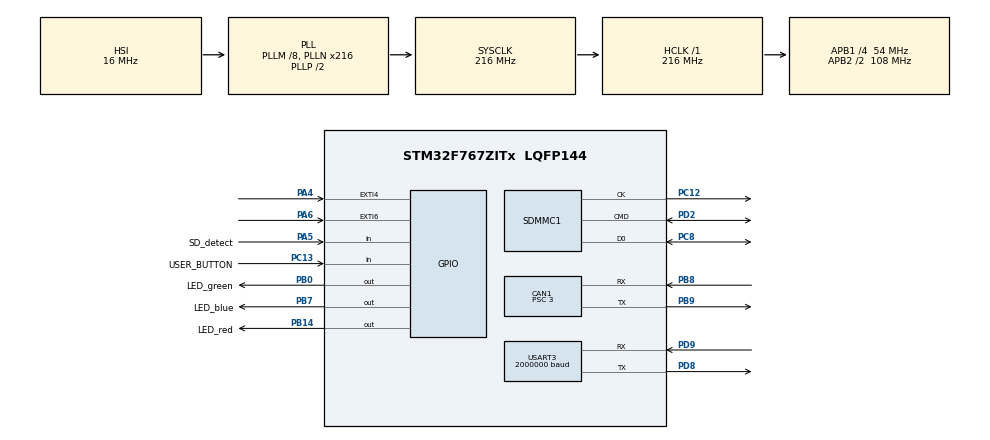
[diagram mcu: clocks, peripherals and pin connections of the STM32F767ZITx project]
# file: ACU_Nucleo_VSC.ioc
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CAN1.AWUM=ENABLE
CAN1.BS1=CAN_BS1_15TQ
CAN1.BS2=CAN_BS2_2TQ
CAN1.CalculateTimeQuantum=55.55555555555556
CAN1.NART=ENABLE
CAN1.Prescaler=3
FATFS.BSP.number=1
FATFS0.BSP.STBoard=false
FATFS0.BSP.api=Unknown
FATFS0.BSP.i2caddr=0
FATFS0.BSP.instance=PA5
FATFS0.BSP.ip=GPIO
FATFS0.BSP.mode=Input
FATFS0.BSP.name=Detect_SDIO
FATFS0.BSP.solution=PA5
Mcu.Family=STM32F7
Mcu.Name=STM32F767ZITx
Mcu.Package=LQFP144
NVIC.CAN1_RX0_IRQn=true\:0\:0\:false\:true\:true\:5\:true\:true
NVIC.CAN1_RX1_IRQn=true\:0\:0\:false\:true\:true\:4\:true\:true
NVIC.CAN1_SCE_IRQn=true\:0\:0\:false\:true\:true\:3\:true\:true
NVIC.CAN1_TX_IRQn=true\:0\:0\:false\:true\:true\:6\:true\:true
NVIC.EXTI4_IRQn=true\:0\:0\:false\:false\:true\:true\:true
NVIC.EXTI9_5_IRQn=true\:0\:0\:false\:false\:true\:true\:true
NVIC.PriorityGroup=NVIC_PRIORITYGROUP_4
NVIC.SDMMC1_IRQn=true\:0\:0\:false\:true\:true\:1\:true\:true
NVIC.TIM2_IRQn=true\:0\:0\:false\:true\:true\:7\:true\:true
NVIC.TIM4_IRQn=true\:0\:0\:false\:false\:true\:true\:true
NVIC.TIM5_IRQn=true\:0\:0\:false\:false\:true\:true\:true
NVIC.USART3_IRQn=true\:0\:0\:false\:true\:true\:2\:true\:true
PA4.Signal=GPXTI4
PA5.GPIO_Label=SD_detect
PA5.Signal=GPIO_Input
PA6.Signal=GPXTI6
PB0.GPIO_Label=LED_green
PB0.Signal=GPIO_Output
PB14.GPIO_Label=LED_red
PB14.Signal=GPIO_Output
PB7.GPIO_Label=LED_blue
PB7.Signal=GPIO_Output
PB8.Mode=Master
PB8.Signal=CAN1_RX
PB9.Mode=Master
PB9.Signal=CAN1_TX
PC12.Mode=SD_1_bit
PC12.Signal=SDMMC1_CK
PC13.GPIO_Label=USER_BUTTON
PC13.Signal=GPIO_Input
PC8.Mode=SD_1_bit
PC8.Signal=SDMMC1_D0
PD2.Mode=SD_1_bit
PD2.Signal=SDMMC1_CMD
PD8.Mode=Asynchronous
PD8.Signal=USART3_TX
PD9.Mode=Asynchronous
PD9.Signal=USART3_RX
ProjectManager.HeapSize=0x200
ProjectManager.StackSize=0x400
ProjectManager.TargetToolchain=Makefile
RCC.AHBFreq_Value=216000000
RCC.APB1CLKDivider=RCC_HCLK_DIV4
RCC.APB1Freq_Value=54000000
RCC.APB1TimFreq_Value=108000000
RCC.APB2CLKDivider=RCC_HCLK_DIV2
RCC.APB2Freq_Value=108000000
RCC.APB2TimFreq_Value=216000000
RCC.CortexFreq_Value=216000000
RCC.HCLKFreq_Value=216000000
RCC.HSE_VALUE=25000000
RCC.HSI_VALUE=16000000
RCC.LSE_VALUE=32768
RCC.PLLM=8
RCC.PLLN=216
RCC.PLLQ=9
RCC.SDMMCClockSelection=RCC_SDMMC1CLKSOURCE_CLK48
RCC.SYSCLKFreq_VALUE=216000000
RCC.SYSCLKSource=RCC_SYSCLKSOURCE_PLLCLK
RCC.USBFreq_Value=48000000
RCC.VCOOutputFreq_Value=432000000
SDMMC1.ClockDiv=1
TIM2.Period=1000
TIM2.Prescaler=108
TIM4.AutoReloadPreload=TIM_AUTORELOAD_PRELOAD_ENABLE
TIM4.Period=9999
TIM4.Prescaler=10800
TIM5.Period=999
TIM5.Prescaler=10800
USART3.BaudRate=2000000
USART3.VirtualMode-Asynchronous=VM_ASYNC
VP_FATFS_VS_SDIO.Mode=SDIO
VP_TIM2_VS_ClockSourceINT.Mode=Internal
VP_TIM4_VS_ClockSourceINT.Mode=Internal
VP_TIM5_VS_ClockSourceINT.Mode=Internal
board=custom

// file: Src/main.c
/* USER CODE BEGIN Header */
/**
 ******************************************************************************
 * @file           : main.c
 * @brief          : Main program body
 ******************************************************************************
 * @attention
 *
 * <h2><center>&copy; Copyright (c) 2019 STMicroelectronics.
 * All rights reserved.</center></h2>
 *
 * This software component is licensed by ST under Ultimate Liberty license
 * SLA0044, the "License"; You may not use this file except in compliance with
 * the License. You may obtain a copy of the License at:
 *                             www.st.com/SLA0044
 *
 ******************************************************************************
 */
/* USER CODE END Header */

#include "main.h"
#include "fatfs.h"

/* USER CODE BEGIN Includes */
#include "can.h"
#include "global_variables.h"
#include "sd.h"
#include "state.h"
#include "stdio.h"
#include "string.h"
#include "encoder.h"
/* USER CODE END Includes */

CAN_HandleTypeDef hcan1;

SD_HandleTypeDef hsd1;

TIM_HandleTypeDef htim2;
TIM_HandleTypeDef htim4;
TIM_HandleTypeDef htim5;

UART_HandleTypeDef huart3;

/* USER CODE BEGIN PV */

uint8_t i_debug;
extern canStruct can1, can3;
extern fifoPriority fifoPriority_t;

CAN_FilterTypeDef sFilter;

long int counter = 0;
/* USER CODE END PV */

void SystemClock_Config(void);
static void MX_GPIO_Init(void);
static void MX_SDMMC1_SD_Init(void);
static void MX_USART3_UART_Init(void);
static void MX_CAN1_Init(void);
static void MX_TIM2_Init(void);
static void MX_TIM4_Init(void);
static void MX_TIM5_Init(void);
static void MX_NVIC_Init(void);

int main(void)
{

  /* MCU Configuration--------------------------------------------------------*/

  /* Reset of all peripherals, Initializes the Flash interface and the Systick. */
  HAL_Init();

  /* Configure the system clock */
  SystemClock_Config();

  /* Initialize all configured peripherals */
  MX_GPIO_Init();
  MX_SDMMC1_SD_Init();
  MX_USART3_UART_Init();
  MX_FATFS_Init();
  MX_CAN1_Init();
  MX_TIM2_Init();
  MX_TIM4_Init();
  MX_TIM5_Init();

  /* Initialize interrupts */
  MX_NVIC_Init();
  /* USER CODE BEGIN 2 */
	HAL_TIM_Base_Start_IT(&htim2);

	can1.rx0_interrupt = CAN1_RX0_IRQn;
	can1.tx_interrupt = CAN1_TX_IRQn;
	can1.hcan = &hcan1;

	can_init();

	HAL_UART_Receive_IT(&huart3, (uint8_t *)&debug_rx[debug_rx_count],
						1);  // activate rx interrupt for debug

	current_state = STATE_INIT;

	init_sd();

  /* USER CODE END 2 */

  /* Infinite loop */
  /* USER CODE BEGIN WHILE */
	while (1) {
		can1.dataTx[0] = 0;
		can1.dataTx[1] = 0;
		can1.dataTx[2] = 0;
		can1.dataTx[3] = 0;
		can1.dataTx[4] = counter >> 24;
		can1.dataTx[5] = counter >> 16;
		can1.dataTx[6] = counter >> 8;
		can1.dataTx[7] = counter % 256;

		can1.tx_id = 0xA0;

		// CAN_Send(&can1, normalPriority);
		// HAL_Delay(500);

		// counter ++;

		if (current_state == STATE_INIT) {
			init();
		} else if (current_state == STATE_IDLE) {
			idle();
		} else if (current_state == STATE_SETUP) {
			setup();
		} else if (current_state == STATE_RUN) {
			run();
		}
    /* USER CODE END WHILE */

	}
}

void SystemClock_Config(void)
{
  RCC_OscInitTypeDef RCC_OscInitStruct = {0};
  RCC_ClkInitTypeDef RCC_ClkInitStruct = {0};
  RCC_PeriphCLKInitTypeDef PeriphClkInitStruct = {0};

  /** Configure the main internal regulator output voltage
  */
  __HAL_RCC_PWR_CLK_ENABLE();
  __HAL_PWR_VOLTAGESCALING_CONFIG(PWR_REGULATOR_VOLTAGE_SCALE1);
  /** Initializes the CPU, AHB and APB busses clocks
  */
  RCC_OscInitStruct.OscillatorType = RCC_OSCILLATORTYPE_HSI;
  RCC_OscInitStruct.HSIState = RCC_HSI_ON;
  RCC_OscInitStruct.HSICalibrationValue = RCC_HSICALIBRATION_DEFAULT;
  RCC_OscInitStruct.PLL.PLLState = RCC_PLL_ON;
  RCC_OscInitStruct.PLL.PLLSource = RCC_PLLSOURCE_HSI;
  RCC_OscInitStruct.PLL.PLLM = 8;
  RCC_OscInitStruct.PLL.PLLN = 216;
  RCC_OscInitStruct.PLL.PLLP = RCC_PLLP_DIV2;
  RCC_OscInitStruct.PLL.PLLQ = 9;
  if (HAL_RCC_OscConfig(&RCC_OscInitStruct) != HAL_OK)
  {
    Error_Handler();
  }
  /** Activate the Over-Drive mode
  */
  if (HAL_PWREx_EnableOverDrive() != HAL_OK)
  {
    Error_Handler();
  }
  /** Initializes the CPU, AHB and APB busses clocks
  */
  RCC_ClkInitStruct.ClockType = RCC_CLOCKTYPE_HCLK|RCC_CLOCKTYPE_SYSCLK
                              |RCC_CLOCKTYPE_PCLK1|RCC_CLOCKTYPE_PCLK2;
  RCC_ClkInitStruct.SYSCLKSource = RCC_SYSCLKSOURCE_PLLCLK;
  RCC_ClkInitStruct.AHBCLKDivider = RCC_SYSCLK_DIV1;
  RCC_ClkInitStruct.APB1CLKDivider = RCC_HCLK_DIV4;
  RCC_ClkInitStruct.APB2CLKDivider = RCC_HCLK_DIV2;

  if (HAL_RCC_ClockConfig(&RCC_ClkInitStruct, FLASH_LATENCY_7) != HAL_OK)
  {
    Error_Handler();
  }
  PeriphClkInitStruct.PeriphClockSelection = RCC_PERIPHCLK_USART3|RCC_PERIPHCLK_SDMMC1
                              |RCC_PERIPHCLK_CLK48;
  PeriphClkInitStruct.Usart3ClockSelection = RCC_USART3CLKSOURCE_PCLK1;
  PeriphClkInitStruct.Clk48ClockSelection = RCC_CLK48SOURCE_PLL;
  PeriphClkInitStruct.Sdmmc1ClockSelection = RCC_SDMMC1CLKSOURCE_CLK48;
  if (HAL_RCCEx_PeriphCLKConfig(&PeriphClkInitStruct) != HAL_OK)
  {
    Error_Handler();
  }
}

/**
  * @brief NVIC Configuration.
  * @retval None
  */
static void MX_NVIC_Init(void)
{
  /* SDMMC1_IRQn interrupt configuration */
  HAL_NVIC_SetPriority(SDMMC1_IRQn, 0, 0);
  HAL_NVIC_EnableIRQ(SDMMC1_IRQn);
  /* USART3_IRQn interrupt configuration */
  HAL_NVIC_SetPriority(USART3_IRQn, 0, 0);
  HAL_NVIC_EnableIRQ(USART3_IRQn);
  /* CAN1_SCE_IRQn interrupt configuration */
  HAL_NVIC_SetPriority(CAN1_SCE_IRQn, 0, 0);
  HAL_NVIC_EnableIRQ(CAN1_SCE_IRQn);
  /* CAN1_RX1_IRQn interrupt configuration */
  HAL_NVIC_SetPriority(CAN1_RX1_IRQn, 0, 0);
  HAL_NVIC_EnableIRQ(CAN1_RX1_IRQn);
  /* CAN1_RX0_IRQn interrupt configuration */
  HAL_NVIC_SetPriority(CAN1_RX0_IRQn, 0, 0);
  HAL_NVIC_EnableIRQ(CAN1_RX0_IRQn);
  /* CAN1_TX_IRQn interrupt configuration */
  HAL_NVIC_SetPriority(CAN1_TX_IRQn, 0, 0);
  HAL_NVIC_EnableIRQ(CAN1_TX_IRQn);
  /* TIM2_IRQn interrupt configuration */
  HAL_NVIC_SetPriority(TIM2_IRQn, 0, 0);
  HAL_NVIC_EnableIRQ(TIM2_IRQn);
}

static void MX_CAN1_Init(void)
{

  hcan1.Instance = CAN1;
  hcan1.Init.Prescaler = 3;
  hcan1.Init.Mode = CAN_MODE_NORMAL;
  hcan1.Init.SyncJumpWidth = CAN_SJW_1TQ;
  hcan1.Init.TimeSeg1 = CAN_BS1_15TQ;
  hcan1.Init.TimeSeg2 = CAN_BS2_2TQ;
  hcan1.Init.TimeTriggeredMode = DISABLE;
  hcan1.Init.AutoBusOff = DISABLE;
  hcan1.Init.AutoWakeUp = ENABLE;
  hcan1.Init.AutoRetransmission = ENABLE;
  hcan1.Init.ReceiveFifoLocked = DISABLE;
  hcan1.Init.TransmitFifoPriority = DISABLE;
  if (HAL_CAN_Init(&hcan1) != HAL_OK)
  {
    Error_Handler();
  }

}

static void MX_SDMMC1_SD_Init(void)
{

  hsd1.Instance = SDMMC1;
  hsd1.Init.ClockEdge = SDMMC_CLOCK_EDGE_RISING;
  hsd1.Init.ClockBypass = SDMMC_CLOCK_BYPASS_DISABLE;
  hsd1.Init.ClockPowerSave = SDMMC_CLOCK_POWER_SAVE_DISABLE;
  hsd1.Init.BusWide = SDMMC_BUS_WIDE_1B;
  hsd1.Init.HardwareFlowControl = SDMMC_HARDWARE_FLOW_CONTROL_DISABLE;
  hsd1.Init.ClockDiv = 1;

}

static void MX_TIM2_Init(void)
{

  TIM_ClockConfigTypeDef sClockSourceConfig = {0};
  TIM_MasterConfigTypeDef sMasterConfig = {0};

  htim2.Instance = TIM2;
  htim2.Init.Prescaler = 108;
  htim2.Init.CounterMode = TIM_COUNTERMODE_UP;
  htim2.Init.Period = 1000;
  htim2.Init.ClockDivision = TIM_CLOCKDIVISION_DIV1;
  htim2.Init.AutoReloadPreload = TIM_AUTORELOAD_PRELOAD_DISABLE;
  if (HAL_TIM_Base_Init(&htim2) != HAL_OK)
  {
    Error_Handler();
  }
  sClockSourceConfig.ClockSource = TIM_CLOCKSOURCE_INTERNAL;
  if (HAL_TIM_ConfigClockSource(&htim2, &sClockSourceConfig) != HAL_OK)
  {
    Error_Handler();
  }
  sMasterConfig.MasterOutputTrigger = TIM_TRGO_RESET;
  sMasterConfig.MasterSlaveMode = TIM_MASTERSLAVEMODE_DISABLE;
  if (HAL_TIMEx_MasterConfigSynchronization(&htim2, &sMasterConfig) != HAL_OK)
  {
    Error_Handler();
  }

}

static void MX_TIM4_Init(void)
{

  TIM_ClockConfigTypeDef sClockSourceConfig = {0};
  TIM_MasterConfigTypeDef sMasterConfig = {0};

  htim4.Instance = TIM4;
  htim4.Init.Prescaler = 10800;
  htim4.Init.CounterMode = TIM_COUNTERMODE_UP;
  htim4.Init.Period = 9999;
  htim4.Init.ClockDivision = TIM_CLOCKDIVISION_DIV1;
  htim4.Init.AutoReloadPreload = TIM_AUTORELOAD_PRELOAD_ENABLE;
  if (HAL_TIM_Base_Init(&htim4) != HAL_OK)
  {
    Error_Handler();
  }
  sClockSourceConfig.ClockSource = TIM_CLOCKSOURCE_INTERNAL;
  if (HAL_TIM_ConfigClockSource(&htim4, &sClockSourceConfig) != HAL_OK)
  {
    Error_Handler();
  }
  sMasterConfig.MasterOutputTrigger = TIM_TRGO_RESET;
  sMasterConfig.MasterSlaveMode = TIM_MASTERSLAVEMODE_DISABLE;
  if (HAL_TIMEx_MasterConfigSynchronization(&htim4, &sMasterConfig) != HAL_OK)
  {
    Error_Handler();
  }

}

static void MX_TIM5_Init(void)
{

  TIM_ClockConfigTypeDef sClockSourceConfig = {0};
  TIM_MasterConfigTypeDef sMasterConfig = {0};

  htim5.Instance = TIM5;
  htim5.Init.Prescaler = 10800;
  htim5.Init.CounterMode = TIM_COUNTERMODE_UP;
  htim5.Init.Period = 999;
  htim5.Init.ClockDivision = TIM_CLOCKDIVISION_DIV1;
  htim5.Init.AutoReloadPreload = TIM_AUTORELOAD_PRELOAD_DISABLE;
  if (HAL_TIM_Base_Init(&htim5) != HAL_OK)
  {
    Error_Handler();
  }
  sClockSourceConfig.ClockSource = TIM_CLOCKSOURCE_INTERNAL;
  if (HAL_TIM_ConfigClockSource(&htim5, &sClockSourceConfig) != HAL_OK)
  {
    Error_Handler();
  }
  sMasterConfig.MasterOutputTrigger = TIM_TRGO_RESET;
  sMasterConfig.MasterSlaveMode = TIM_MASTERSLAVEMODE_DISABLE;
  if (HAL_TIMEx_MasterConfigSynchronization(&htim5, &sMasterConfig) != HAL_OK)
  {
    Error_Handler();
  }

}

static void MX_USART3_UART_Init(void)
{

  huart3.Instance = USART3;
  huart3.Init.BaudRate = 2000000;
  huart3.Init.WordLength = UART_WORDLENGTH_8B;
  huart3.Init.StopBits = UART_STOPBITS_1;
  huart3.Init.Parity = UART_PARITY_NONE;
  huart3.Init.Mode = UART_MODE_TX_RX;
  huart3.Init.HwFlowCtl = UART_HWCONTROL_NONE;
  huart3.Init.OverSampling = UART_OVERSAMPLING_16;
  huart3.Init.OneBitSampling = UART_ONE_BIT_SAMPLE_DISABLE;
  huart3.AdvancedInit.AdvFeatureInit = UART_ADVFEATURE_NO_INIT;
  if (HAL_UART_Init(&huart3) != HAL_OK)
  {
    Error_Handler();
  }

}

static void MX_GPIO_Init(void)
{
  GPIO_InitTypeDef GPIO_InitStruct = {0};

  /* GPIO Ports Clock Enable */
  __HAL_RCC_GPIOC_CLK_ENABLE();
  __HAL_RCC_GPIOA_CLK_ENABLE();
  __HAL_RCC_GPIOB_CLK_ENABLE();
  __HAL_RCC_GPIOD_CLK_ENABLE();

  /*Configure GPIO pin Output Level */
  HAL_GPIO_WritePin(GPIOB, LED_green_Pin|LED_red_Pin|LED_blue_Pin, GPIO_PIN_RESET);

  /*Configure GPIO pin : USER_BUTTON_Pin */
  GPIO_InitStruct.Pin = USER_BUTTON_Pin;
  GPIO_InitStruct.Mode = GPIO_MODE_INPUT;
  GPIO_InitStruct.Pull = GPIO_NOPULL;
  HAL_GPIO_Init(USER_BUTTON_GPIO_Port, &GPIO_InitStruct);

  /*Configure GPIO pins : PA4 PA6 */
  GPIO_InitStruct.Pin = GPIO_PIN_4|GPIO_PIN_6;
  GPIO_InitStruct.Mode = GPIO_MODE_IT_RISING;
  GPIO_InitStruct.Pull = GPIO_NOPULL;
  HAL_GPIO_Init(GPIOA, &GPIO_InitStruct);

  /*Configure GPIO pin : SD_detect_Pin */
  GPIO_InitStruct.Pin = SD_detect_Pin;
  GPIO_InitStruct.Mode = GPIO_MODE_INPUT;
  GPIO_InitStruct.Pull = GPIO_NOPULL;
  HAL_GPIO_Init(SD_detect_GPIO_Port, &GPIO_InitStruct);

  /*Configure GPIO pins : LED_green_Pin LED_red_Pin LED_blue_Pin */
  GPIO_InitStruct.Pin = LED_green_Pin|LED_red_Pin|LED_blue_Pin;
  GPIO_InitStruct.Mode = GPIO_MODE_OUTPUT_PP;
  GPIO_InitStruct.Pull = GPIO_NOPULL;
  GPIO_InitStruct.Speed = GPIO_SPEED_FREQ_LOW;
  HAL_GPIO_Init(GPIOB, &GPIO_InitStruct);

  /* EXTI interrupt init*/
  HAL_NVIC_SetPriority(EXTI4_IRQn, 0, 0);
  HAL_NVIC_EnableIRQ(EXTI4_IRQn);

  HAL_NVIC_SetPriority(EXTI9_5_IRQn, 0, 0);
  HAL_NVIC_EnableIRQ(EXTI9_5_IRQn);

}

/* USER CODE BEGIN 4 */
void HAL_TIM_PeriodElapsedCallback(TIM_HandleTypeDef *htim) {
	if (htim == &htim2) {
		count_ms += 1;
		count_ms_abs++; //absolute 32 bit counter -> up to 50 days
		if (count_ms == 100) {
			count_ms = 0;
			count_dec++;
			//--- put your counter here (count each 0,1 sec) ---//
			count_inverter++;
			count_imu++;
			count_atc++;
			if (count_inverter == 10) {  //--- check if inverter is connected ---//
					   // TODO: to implement error functions
			} else if (count_inverter == 11) {
				count_inverter = 10;
			}
      /*******************************************************************
      *                           ATC COUNTER
      *******************************************************************/
			if (count_atc == 10) {  //--- check if Analog To Can is connected ---//
				set_bit_uint8(&critical_errors[0], 0, 1);
        send_errors();
				atc_connected = 0;
			} else if (count_atc == 11) {
				count_atc = 10;
			}
      /******************************************************************/
      /*******************************************************************
      *                           IMU COUNTER
      *******************************************************************/
			if (count_imu == 10) {  //--- check if imu is connected ---//
				// imu non presente //
				imu_connected = 0;  // imu not connected
				HAL_UART_Transmit(&huart3, (uint8_t *)"IMU non presente\r\n", strlen("IMU non presente\r\n"), 10);
			} else if (count_imu == 11) {
				count_imu = 10;
			}
      /*****************************************************************/
			if (count_dec == 10) {
				count_dec = 0;
				count_sec++;
				if (count_sec == 60) {
					count_sec = 0;
					count_min++;
					if (count_min == 60) {
						count_min = 0;
						count_hour++;
					}
				}
			}
		}
	}else if(htim == &htim4){
    cp = 0;
		polA_cont_up = 0;
		polA_cont_down = 0;
		polB_cont_up = 0;
		polB_cont_down = 0;
		HAL_TIM_Base_Start(&htim5);
		HAL_TIM_Base_Start_IT(&htim5);
		HAL_NVIC_EnableIRQ(EXTI15_10_IRQn);
		HAL_NVIC_EnableIRQ(EXTI9_5_IRQn);
		//HAL_GPIO_TogglePin(GPIOA, GPIO_PIN_5);
  }else if(htim == &htim5){

    HAL_NVIC_DisableIRQ(EXTI4_IRQn);
		HAL_NVIC_DisableIRQ(EXTI9_5_IRQn);
		HAL_TIM_Base_Stop(&htim5);
		// The next line it is not necessary but can be a good practice
		__HAL_TIM_SET_COUNTER(&htim5,0);

		// char message[256] = "";
		// char message2[256] = "";
		// char mes[200] = "";
		// int val = -1;
		// int val2 = -1;

    //		sprintf(message, "\r\nCP = %u -- Encoder = %f", cp, enc_speed);
    //		sprintf(message2, "\r\nSpeed1 = %f -- Speed2 = %f", wheel_speed, wheel_speed2);
    //		print(&huart2, message);
    //		print(&huart2, message2);
    //		val = __HAL_TIM_GET_COUNTER(&htim3);
    //		val2 = __HAL_TIM_GET_COUNTER(&htim4);
    //		sprintf(mes,"\r\n TIM3 = %d -- TIM4 = %d",val,val2);
    //		print(&huart2, mes);

    // Resolution = 5um = 0.000005 m
    // cpr = 48'000
    // encoder diameter = 75.4 mm = 0.0754 m
    // wheel diameter = 0.395 m
    // encoder circumference = 3.1415926535 * 0.0754 = 0.236876086
    // wheel circumference = 3.1415926535 * 0.395 = 1.2409290981325
    // speed multiplier factor = 1.2409290981325 ?????? 0.236876086 = 5.238726792
    // second mult_factor = 1.2409/0.24 = 5.170416667
    // encoder speed = Resolution*cp/0.4s
    // wheel speed = encoder speed * sp_mult

    enc_speed = resolution*cp*-3.60/measurment_per;
    wheel_speed = enc_speed*mult_fact;
    wheel_speed2 = resolution*cp*mult_fact2*-3.6/measurment_per;
  }
}

void HAL_GPIO_EXTI_Callback(uint16_t GPIO_Pin){
  if(GPIO_Pin == GPIO_PIN_6){
    if(HAL_GPIO_ReadPin(GPIOA, GPIO_PIN_6)){
      polB_cont_up++;
      sig_b = SET;
      if(sig_a) cp++;
      else cp--;
    }
    else{
      polB_cont_down++;
      sig_b = RESET;
      if(sig_a) cp--;
      else cp++;
    }
  }else{
    if(HAL_GPIO_ReadPin(GPIOA, GPIO_PIN_4)){
      polA_cont_up++;
      sig_a = SET;
      if(sig_b) cp--;
      else cp++;
    }
    else{
      polA_cont_down++;
      sig_a = RESET;
      if(sig_b) cp++;
      else  cp--;
    }
  }

}

void HAL_CAN_RxFifo0MsgPendingCallback(CAN_HandleTypeDef *hcan) {
	/*sprintf(txt, "%d\r\n", HAL_CAN_GetRxFifoFillLevel(&hcan1, CAN_RX_FIFO0));
	HAL_UART_Transmit(&huart3, (uint8_t*)txt, strlen(txt), 10);*/

	HAL_GPIO_TogglePin(LED_blue_GPIO_Port, LED_blue_Pin);
	if (hcan == &hcan1) {
		// HAL_UART_Transmit(&huart3, (uint8_t*)"rx on FIFO0\r\n", strlen("rx on
		// FIFO0\r\n"), 10);
		if (HAL_CAN_GetRxFifoFillLevel(&hcan1, CAN_RX_FIFO0) != 0) {
			CAN_RxHeaderTypeDef header;
			HAL_CAN_GetRxMessage(&hcan1, CAN_RX_FIFO0, &header, can1.dataRX_int);
			can1.rx_id_int = header.StdId;
			can1.rx_size_int = header.DLC;
      if(canSnifferMode == 1){
        sprintf(txt,"%ld %d %d %d %d %d %d %d %d\r\n", can1.rx_id_int, can1.dataRX_int[0], can1.dataRX_int[1], can1.dataRX_int[2], can1.dataRX_int[3], can1.dataRX_int[4], can1.dataRX_int[5], can1.dataRX_int[6], can1.dataRX_int[7] );
        HAL_UART_Transmit(&huart3, (uint8_t*)txt, strlen(txt), 50);
      }else{
			  fifoRxDataCAN_push(&can1);
      }
			/*sprintf(txt, "DATA: %d %d %d %d %d %d %d %d\r\n", can1.dataRx[0],
					can1.dataRx[1], can1.dataRx[2], can1.dataRx[3],
					can1.dataRx[4], can1.dataRx[5], can1.dataRx[6],
					can1.dataRx[7]);*/
			// HAL_UART_Transmit(&huart3, (uint8_t *)txt, strlen(txt), 100);
			// HAL_UART_Transmit(&huart3, (uint8_t*)"ciao2\r\n",
			// strlen("ciao2\r\n"), 10);
		}
	}
}
void HAL_CAN_RxFifo1MsgPendingCallback(CAN_HandleTypeDef *hcan) {
	if (hcan == &hcan1) {
		HAL_UART_Transmit(&huart3, (uint8_t *)"rx on FIFO1\r\n",
						  strlen("rx on FIFO1\r\n"), 10);
	}
}

void HAL_CAN_RxFifo0FullCallback(CAN_HandleTypeDef *hcan) {
	if (hcan == &hcan1) {
		HAL_UART_Transmit(&huart3, (uint8_t *)"FIFO0 FULL\r\n",
						  strlen("FIFO0 FULL\r\n"), 10);
	}
}
void HAL_CAN_RxFifo1FullCallback(CAN_HandleTypeDef *hcan) {
	if (hcan == &hcan1) {
		HAL_UART_Transmit(&huart3, (uint8_t *)"FIFO1 FULL\r\n",
						  strlen("FIFO1 FULL\r\n"), 10);
	}
}

void HAL_CAN_TxMailbox0CompleteCallback(CAN_HandleTypeDef *hcan) {
	HAL_GPIO_TogglePin(LED_green_GPIO_Port, LED_green_Pin);
	if (hcan == &hcan1) {
		if (fifoTxDataCAN_high_pop(&can1)) {
			if (CAN_Send_IT(&can1) == 0) {
				// TODO: implementare errore
			} else {
				HAL_UART_Transmit(&huart3, (uint8_t *)("high\r\n"),
								  strlen("high\r\n"), 10);
			}
		} else if (fifoTxDataCAN_normal_pop(&can1)) {
			// HAL_UART_Transmit(&huart3,(uint8_t*)("Prendo dalla fifo\r\n"),
			// strlen("Prendo dalla fifo\r\n"), 10);
			if (CAN_Send_IT(&can1) == 0) {
				// TODO: implementare errore
			}
		} else {
			// HAL_UART_Transmit(&huart3,(uint8_t*)("Fifo vuota\r\n"),
			// strlen("Fifo vuota\r\n"), 10);
		}
	} /*else{
	 HAL_UART_Transmit(&huart3,(uint8_t*)("Messaggio trasmesso\r\n"),
	 strlen("Messaggio trasmesso\r\n"), 10);
		 //HAL_GPIO_TogglePin(USER_LED_4_GPIO_Port, USER_LED_4_Pin);
		 fifoDataType fifodata;
		 if(fifoTxDataCAN3_high_pop(&fifoCAN3, &fifodata)){
			 for(int i = 0; i < 8; i++){
				 can3.dataTx[i] = fifodata.data[i];
			 }
			 if(CAN_Send_IT(&can3, fifodata.id) == 0){
				 //TODO: implementare errore
			 }
		 }else if(fifoTxDataCAN3_normal_pop(&fifoCAN3, &fifodata)){
			 HAL_UART_Transmit(&huart3,(uint8_t*)("Prendo dalla fifo\r\n"),
	 strlen("Prendo dalla fifo\r\n"), 10); for(int i = 0; i < 8; i++){
				 can3.dataTx[i] = fifodata.data[i];
			 }
			 if(CAN_Send_IT(&can3, fifodata.id) == 0){
				 //TODO: implementare errore
			 }
		 }else{
			 //TODO: riattivare interrupt
			 HAL_UART_Transmit(&huart3,(uint8_t*)("Fifo vuota\r\n"),
	 strlen("Fifo vuota\r\n"), 10);
		 }*/
	  //}
}
void HAL_CAN_TxMailbox1CompleteCallback(CAN_HandleTypeDef *hcan) {
	sprintf(txt, "mb1: %d %d\r\n", can1.fifo.txTailNormal,
			can1.fifo.txHeadNormal);
	HAL_UART_Transmit(&huart3, (uint8_t *)(txt), strlen(txt), 10);
	HAL_GPIO_TogglePin(LED_green_GPIO_Port, LED_green_Pin);
	if (hcan == &hcan1) {
		if (fifoTxDataCAN_high_pop(&can1)) {
			if (CAN_Send_IT(&can1) == 0) {
				// TODO: implementare errore
			} else {
				HAL_UART_Transmit(&huart3, (uint8_t *)("high\r\n"),
								  strlen("high\r\n"), 10);
			}
		} else if (fifoTxDataCAN_normal_pop(&can1)) {
			// HAL_UART_Transmit(&huart3,(uint8_t*)("Prendo dalla fifo\r\n"),
			// strlen("Prendo dalla fifo\r\n"), 10);
			if (CAN_Send_IT(&can1) == 0) {
				// TODO: implementare errore
			}
		} else {
			// HAL_UART_Transmit(&huart3,(uint8_t*)("Fifo vuota\r\n"),
			// strlen("Fifo vuota\r\n"), 10);
		}
	}
}
void HAL_CAN_TxMailbox2CompleteCallback(CAN_HandleTypeDef *hcan) {
	sprintf(txt, "mb2: %d %d\r\n", can1.fifo.txTailNormal,
			can1.fifo.txHeadNormal);
	HAL_UART_Transmit(&huart3, (uint8_t *)(txt), strlen(txt), 10);
	HAL_GPIO_TogglePin(LED_green_GPIO_Port, LED_green_Pin);
	if (hcan == &hcan1) {
		if (fifoTxDataCAN_high_pop(&can1)) {
			if (CAN_Send_IT(&can1) == 0) {
				// TODO: implementare errore
			} else {
				HAL_UART_Transmit(&huart3, (uint8_t *)("high\r\n"),
								  strlen("high\r\n"), 10);
			}
		} else if (fifoTxDataCAN_normal_pop(&can1)) {
			// HAL_UART_Transmit(&huart3,(uint8_t*)("Prendo dalla fifo\r\n"),
			// strlen("Prendo dalla fifo\r\n"), 10);
			if (CAN_Send_IT(&can1) == 0) {
				// TODO: implementare errore
			}
		} else {
			// HAL_UART_Transmit(&huart3,(uint8_t*)("Fifo vuota\r\n"),
			// strlen("Fifo vuota\r\n"), 10);
		}
	}
}
void HAL_CAN_ErrorCallback(CAN_HandleTypeDef *hcan) {
	sprintf(txt, "--- Errore ---: %d\r\n", (int)hcan->ErrorCode);
	HAL_UART_Transmit(&huart3, (uint8_t *)(txt), strlen(txt), 10);
	if (hcan == &hcan1) {
		CAN_Send_Bck(&can1);
	}
}

void HAL_UART_RxCpltCallback(UART_HandleTypeDef *huart) {
	if (huart == &huart3) {
		if ((debug_rx[debug_rx_count] == '\r') |
			(debug_rx[debug_rx_count] == '\n')) {
			debug_msg_arrived = 1;		   // set flag
			debug_rx[debug_rx_count] = 0;  // set end of the string
			debug_rx_count = 0;			   // reset counter
		} else {
			if (debug_rx_count == MAX_DEBUG_RX_L) {
				// overflow
				debug_rx_count = 0;  // reset counter for overflow
			} else {
				HAL_UART_Transmit(&huart3, (uint8_t *)&debug_rx[debug_rx_count],1, 10);  // retransmit char
				debug_rx_count++;
			}
		}
		HAL_UART_Receive_IT(&huart3, (uint8_t *)&debug_rx[debug_rx_count], 1);  // activate rx interrupt for debug
	}
}
/* USER CODE END 4 */

void Error_Handler(void)
{
  /* USER CODE BEGIN Error_Handler_Debug */
	/* User can add his own implementation to report the HAL error return state
	 */
	HAL_GPIO_TogglePin(LED_blue_GPIO_Port, LED_blue_Pin);
	HAL_GPIO_TogglePin(LED_green_GPIO_Port, LED_green_Pin);
	HAL_GPIO_TogglePin(LED_red_GPIO_Port, LED_red_Pin);

	HAL_Delay(100);
  /* USER CODE END Error_Handler_Debug */
}

#ifdef  USE_FULL_ASSERT
/**
  * @brief  Reports the name of the source file and the source line number
  *         where the assert_param error has occurred.
  * @param  file: pointer to the source file name
  * @param  line: assert_param error line source number
  * @retval None
  */
void assert_failed(uint8_t *file, uint32_t line)
{
  /* USER CODE BEGIN 6 */
	/* User can add his own implementation to report the file name and line
	   number, tex: printf("Wrong parameters value: file %s on line %d\r\n",
	   file, line) */
  /* USER CODE END 6 */
}
#endif /* USE_FULL_ASSERT */

/************************ (C) COPYRIGHT STMicroelectronics *****END OF FILE****/
